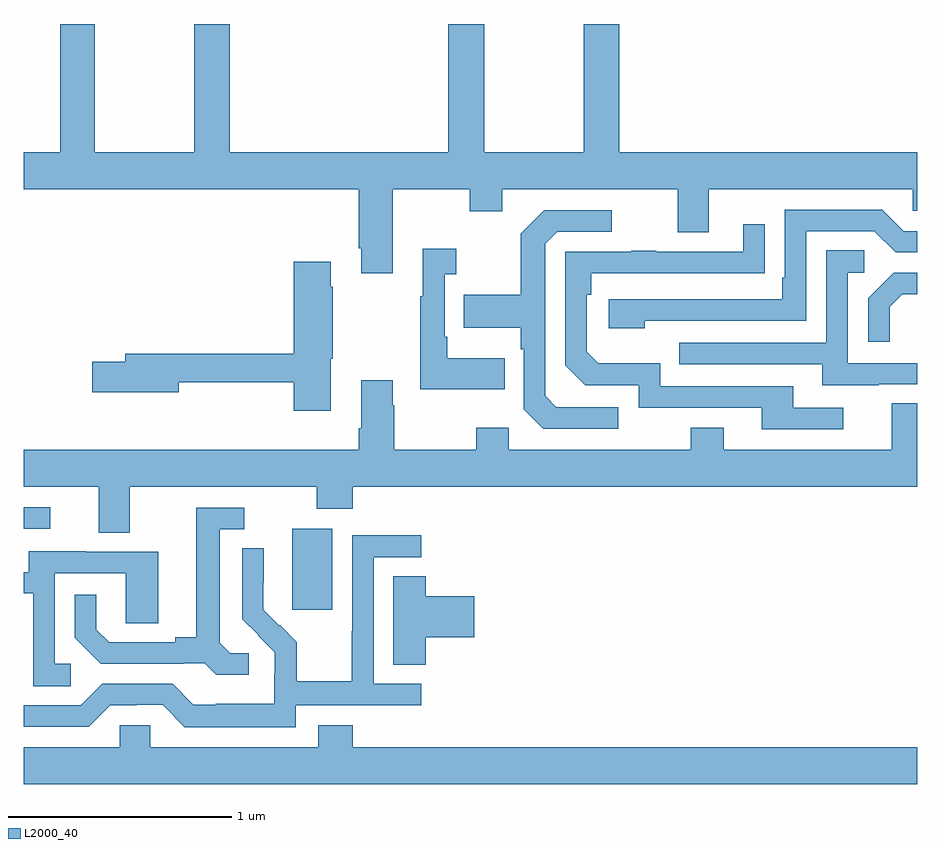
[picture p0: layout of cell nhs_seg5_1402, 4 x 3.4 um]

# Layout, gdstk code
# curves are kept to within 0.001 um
import gdstk
lib = gdstk.Library(unit=1e-6, precision=1e-09)
def R(c, l, rs):  # rectangles x0, y0, x1, y1
    for r in rs: c.add(gdstk.rectangle(r[:2], r[2:], *l))
def P(c, l, *ps):  # polygons
    for p in ps: c.add(gdstk.Polygon(p, *l))
L2000_40 = (2000, 40)

nhs_seg5_1402 = lib.new_cell('nhs_seg5_1402')
R(nhs_seg5_1402, L2000_40, [(196.202,888.177,196.381,888.538), (195,888.54,195.118,888.636)])
P(nhs_seg5_1402, L2000_40, [(196.651,890.06),(196.996,890.06),(196.996,889.961),(197.143,889.961),(197.143,890.06),(197.927,890.06),(197.927,889.866),(198.067,889.866),(198.067,890.06),(198.981,890.06),(198.981,889.962),(199,889.962),(199,890.224),(197.666,890.224),(197.666,890.799),(197.506,890.799),(197.506,890.224),(197.061,890.224),(197.061,890.799),(196.901,890.799),(196.901,890.224),(195.923,890.224),(195.923,890.799),(195.763,890.799),(195.763,890.224),(195.318,890.224),(195.318,890.799),(195.163,890.799),(195.163,890.224),(195,890.224),(195,890.06),(196.499,890.06),(196.499,889.795),(196.511,889.795),(196.511,889.683),(196.651,889.683)],
  [(197.78,889.47),(198.504,889.47),(198.504,889.872),(198.807,889.872),(198.903,889.776),(199,889.776),(199,889.872),(198.939,889.872),(198.843,889.968),(198.408,889.968),(198.408,889.663),(198.395,889.663),(198.395,889.566),(197.619,889.566),(197.619,889.436),(197.78,889.436)],
  [(197.662,889.083),(197.385,889.083),(197.334,889.134),(197.334,889.815),(197.388,889.869),(197.632,889.869),(197.632,889.965),(197.331,889.965),(197.226,889.859),(197.226,889.587),(196.969,889.587),(196.969,889.439),(197.226,889.439),(197.226,889.343),(197.238,889.343),(197.238,889.074),(197.325,888.987),(197.662,888.987)],
  [(198.67,889.08),(198.445,889.08),(198.445,889.176),(197.85,889.176),(197.85,889.279),(197.573,889.279),(197.52,889.332),(197.52,889.586),(197.54,889.586),(197.54,889.683),(198.317,889.684),(198.317,889.903),(198.221,889.903),(198.221,889.779),(197.831,889.779),(197.831,889.784),(197.719,889.784),(197.719,889.779),(197.424,889.779),(197.424,889.272),(197.514,889.182),(197.754,889.182),(197.754,889.08),(198.305,889.08),(198.305,888.984),(198.67,888.984)],
  [(197.153,889.303),(196.897,889.303),(196.897,889.399),(196.884,889.399),(196.884,889.679),(196.936,889.679),(196.936,889.792),(196.787,889.792),(196.787,889.579),(196.776,889.579),(196.776,889.163),(197.153,889.163)],
  [(198.829,889.185),(199,889.185),(199,889.281),(198.69,889.281),(198.69,889.686),(198.763,889.686),(198.763,889.787),(198.594,889.787),(198.594,889.371),(197.935,889.371),(197.935,889.275),(198.575,889.275),(198.575,889.181),(198.829,889.181)],
  [(196.375,889.299),(196.383,889.299),(196.383,889.622),(196.375,889.622),(196.375,889.735),(196.208,889.735),(196.208,889.322),(195.455,889.322),(195.455,889.286),(195.306,889.286),(195.306,889.151),(195.694,889.151),(195.694,889.194),(196.208,889.194),(196.208,889.068),(196.375,889.068)],
  [(198.877,889.533),(198.934,889.59),(199,889.59),(199,889.686),(198.896,889.686),(198.78,889.57),(198.78,889.377),(198.877,889.377)],
  [(195.475,888.728),(196.312,888.728),(196.312,888.629),(196.472,888.629),(196.472,888.728),(199,888.728),(199,889.1),(198.887,889.1),(198.887,888.892),(198.133,888.892),(198.133,888.991),(197.986,888.991),(197.986,888.892),(197.172,888.892),(197.172,888.991),(197.026,888.991),(197.026,888.892),(196.659,888.892),(196.659,889.091),(196.651,889.091),(196.651,889.204),(196.511,889.204),(196.511,888.988),(196.499,888.988),(196.499,888.892),(195,888.892),(195,888.728),(195.335,888.728),(195.335,888.52),(195.475,888.52)],
  [(196.006,887.982),(195.924,887.982),(195.877,888.029),(195.877,888.537),(195.988,888.537),(195.988,888.633),(195.773,888.633),(195.773,888.053),(195.677,888.053),(195.677,888.03),(195.382,888.03),(195.325,888.087),(195.325,888.244),(195.228,888.244),(195.228,888.05),(195.344,887.934),(195.716,887.934),(195.716,887.937),(195.81,887.937),(195.862,887.885),(196.006,887.885)],
  [(196.218,887.748),(196.78,887.748),(196.78,887.844),(196.566,887.844),(196.566,888.411),(196.78,888.411),(196.78,888.51),(196.47,888.51),(196.47,888.08),(196.468,888.08),(196.468,887.857),(196.223,887.857),(196.223,888.031),(196.146,888.108),(196.143,888.105),(196.073,888.176),(196.074,888.452),(195.978,888.452),(195.978,888.134),(196.124,887.986),(196.124,887.889),(196.122,887.889),(196.122,887.755),(195.859,887.755),(195.859,887.751),(195.759,887.751),(195.666,887.844),(195.351,887.844),(195.255,887.748),(195,887.748),(195,887.652),(195.291,887.652),(195.387,887.748),(195.506,887.748),(195.506,887.751),(195.621,887.751),(195.721,887.651),(196.218,887.651)],
  [(195.211,887.934),(195.138,887.934),(195.138,888.339),(195.456,888.339),(195.456,888.115),(195.601,888.115),(195.601,888.435),(195.277,888.435),(195.277,888.439),(195.023,888.439),(195.023,888.345),(195,888.345),(195,888.249),(195.042,888.249),(195.042,887.833),(195.211,887.833)],
  [(196.799,888.053),(197.017,888.053),(197.017,888.236),(196.799,888.236),(196.799,888.326),(196.655,888.326),(196.655,887.929),(196.799,887.929)],
  [(199,887.56),(196.472,887.56),(196.472,887.659),(196.319,887.659),(196.319,887.56),(195.567,887.56),(195.567,887.658),(195.429,887.658),(195.429,887.56),(195,887.56),(195,887.396),(199,887.396)])

lib.write_gds('nhs_seg5_1402.gds')
